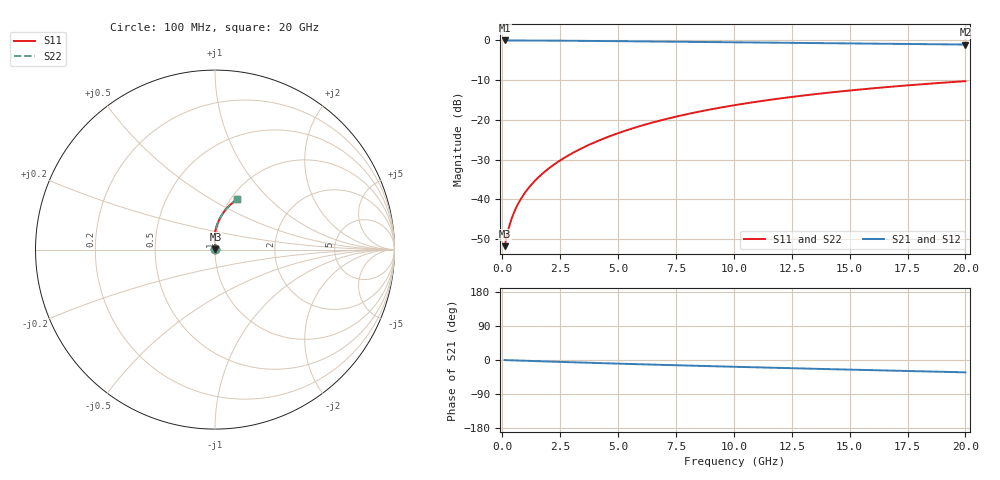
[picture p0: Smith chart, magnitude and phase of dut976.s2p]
! Touchstone file exported from HFSS 2024.1.0
!  File:  C:/UserFiles/LocalFiles/RDL_TSV_Batchsim/temp_RDL_bottom_976_1779943256.aedt
!  Generated:  12:43:29 PM May 28, 2026
!  Design:  RDL_bottom
!  Project:  temp_RDL_bottom_976_1779943256
!  Setup:  Setup1
!  Solution:  Sweep
! Variables:
!  dtsv = 10.80580581um
!  hbump = 3um
!  htsv = 55.72um
!  ldown = 437.3um
!  lrdl = 100um
!  p = 40
!  p1 = 59.85um
!  rhole = 1um
!  t = 450um
!  tdown = 2.8um
!  trdl = 3.915915916um
!  wdown = 29.69um
!  wrdl = 20um
# GHz S MA R 50.000000
! Terminal data exported
! Port[1] = RDL1_T1
! Port[2] = RDL1_T2
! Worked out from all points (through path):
!   200 points, 100 MHz to 20 GHz, reference 50 ohm
!   highest |S21| = -0.02 dB at 100 MHz (marker M1); lowest = -1.0 dB at 20 GHz (marker M2)
!   group delay of S21, straight-line fit = 4.45 ps
!   lowest |S11| = -51.8 dB at 100 MHz (marker M3), VSWR 1.01, Z = 50.2 + j0.136 ohm
!   |S11| at or under -10 dB: start of sweep to end of sweep
!   |S22| runs from -51.8 to -10.3 dB; largest |S21 - S12| = 2.5e-15
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0.1  0.002564 31.9  0.9978 -0.2  0.9978 -0.2  0.002564 31.9
! Gamma 0 0 0 0
! Port Impedance 50 0 50 0
0.2  0.003496 49.4  0.9977 -0.4  0.9977 -0.4  0.003496 49.4
0.3  0.004564 58.6  0.9975 -0.6  0.9975 -0.6  0.004564 58.6
0.4  0.005652 64.1  0.9973 -0.8  0.9973 -0.8  0.005652 64.1
0.5  0.00674 68.0  0.9971 -1.0  0.9971 -1.0  0.00674 68.0
0.6  0.00783 71.0  0.9969 -1.2  0.9969 -1.2  0.00783 71.0
0.8  0.01004 75.5  0.9965 -1.6  0.9965 -1.6  0.01004 75.5
1.1  0.01344 79.9  0.9959 -2.2  0.9959 -2.2  0.01344 79.9
1.3  0.01577 82.0  0.9954 -2.6  0.9954 -2.6  0.01577 82.0
1.6  0.01936 84.4  0.9945 -3.2  0.9945 -3.2  0.01936 84.4
2.1  0.0256 87.2  0.9928 -4.2  0.9928 -4.2  0.0256 87.2
2.7  0.03351 89.2  0.9903 -5.4  0.9903 -5.4  0.03351 89.2
3.5  0.04479 90.7  0.9863 -6.9  0.9863 -6.9  0.04479 90.7
4.2  0.05527 91.1  0.9824 -8.2  0.9824 -8.2  0.05527 91.1
5  0.06784 91.0  0.9776 -9.6  0.9776 -9.6  0.06784 91.0
5.9  0.08255 90.3  0.972 -11.2  0.972 -11.2  0.08255 90.3
6.8  0.09766 89.2  0.9663 -12.7  0.9663 -12.7  0.09766 89.2
8.4  0.125 86.7  0.9563 -15.3  0.9563 -15.3  0.125 86.7
10.1  0.154 83.6  0.9458 -18.0  0.9458 -18.0  0.154 83.6
13.4  0.2086 77.5  0.926 -23.0  0.926 -23.0  0.2086 77.5
16.7  0.2596 71.6  0.9062 -27.9  0.9062 -27.9  0.2596 71.6
20  0.3065 66.2  0.8862 -32.6  0.8862 -32.6  0.3065 66.2
